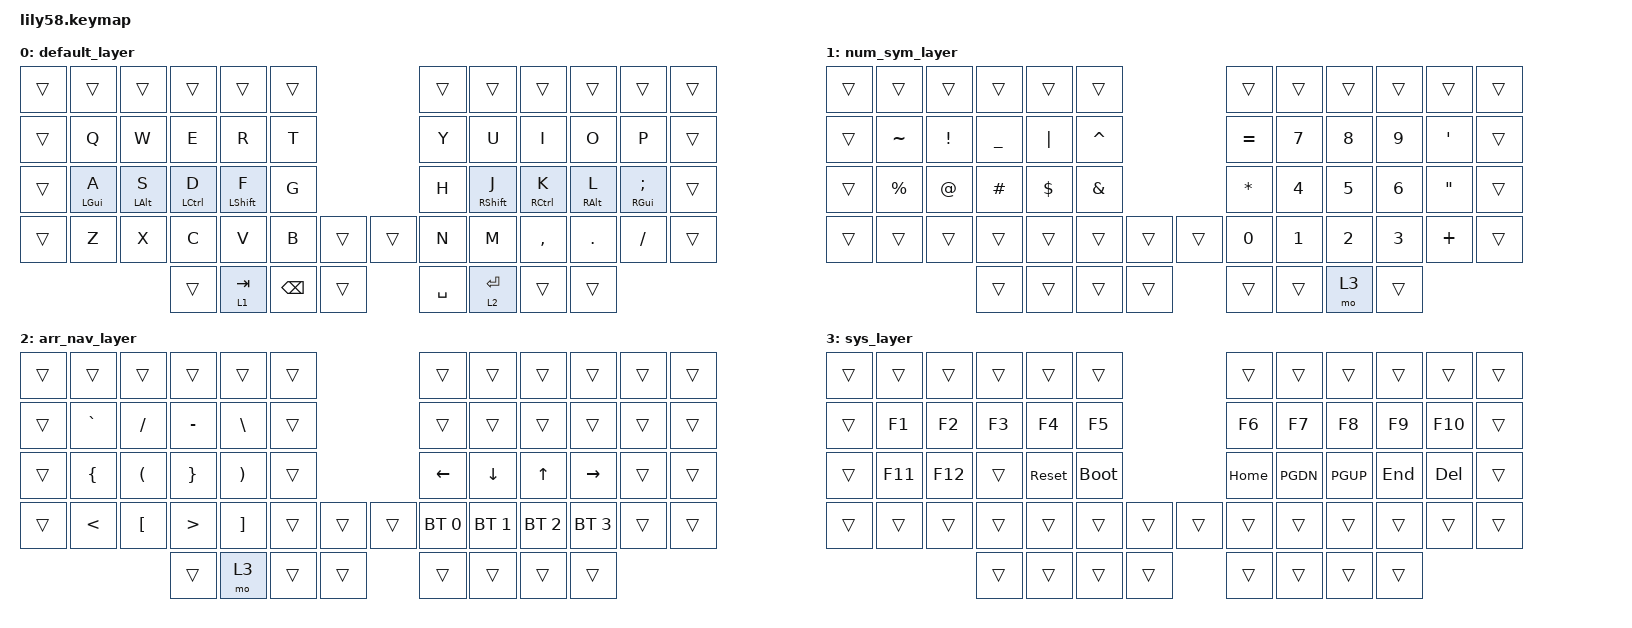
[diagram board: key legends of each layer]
/*
 * Lily58 keymap — 4-layer, 5-col footprint. Mac: GUI=CMD, Alt=Opt.
 * Home-row mods: F/J=Shift  D/K=Ctrl  S/L=Alt  A/;=GUI  
 * Combo: D+F=ESC
 */

#include <dt-bindings/zmk/behaviors.h>
#include <behaviors.dtsi>
#include <dt-bindings/zmk/keys.h>
#include <dt-bindings/zmk/outputs.h>
#include <dt-bindings/zmk/bt.h>

/ {
    behaviors {
        hml: homerow_mod_left { compatible="zmk,behavior-hold-tap"; #binding-cells=<2>; flavor="balanced"; tapping-term-ms=<200>; require-prior-idle-ms=<150>; bindings=<&kp>,<&kp>; };
        hmr: homerow_mod_right { compatible="zmk,behavior-hold-tap"; #binding-cells=<2>; flavor="balanced"; tapping-term-ms=<200>; require-prior-idle-ms=<150>; bindings=<&kp>,<&kp>; };
    };
    combos { compatible="zmk,combos"; esc_combo { timeout-ms=<100>; key-positions=<27 28>; bindings=<&kp ESC>; }; caps_combo { timeout-ms=<100>; key-positions=<37 38>; bindings=<&kp CAPSLOCK>; }; }; };

    keymap {
        compatible = "zmk,keymap";

        default_layer {
            bindings = <
&trans &trans &trans &trans &trans &trans                  &trans &trans &trans &trans &trans &trans
&trans &kp Q  &kp W  &kp E  &kp R  &kp T                   &kp Y  &kp U  &kp I  &kp O  &kp P  &trans
&trans &hml LGUI A &hml LALT S &hml LCTRL D &hml LSHFT F &kp G  &kp H &hmr RSHFT J &hmr RCTRL K &hmr RALT L &hmr RGUI SEMI &trans
&trans &kp Z  &kp X  &kp C  &kp V  &kp B  &trans &trans   &kp N  &kp M  &kp COMMA &kp DOT &kp FSLH &trans
                        &trans &lt 1 TAB &kp BSPC &trans     &kp SPACE &lt 2 RET &trans &trans
            >;
        };

        num_sym_layer {
            bindings = <
&trans &trans  &trans  &trans  &trans  &trans              &trans  &trans &trans &trans &trans &trans
&trans &kp TILDE &kp EXCL &kp UNDER &kp PIPE &kp CARET    &kp EQUAL &kp N7 &kp N8 &kp N9 &kp SQT &trans
&trans &kp PERCENT &kp AT &kp HASH &kp DOLLAR &kp AMPS    &kp ASTRK &kp N4 &kp N5 &kp N6 &kp DQT &trans
&trans &trans  &trans  &trans  &trans  &trans &trans &trans &kp N0 &kp N1 &kp N2 &kp N3 &kp PLUS &trans
                        &trans &trans  &trans &trans        &trans &trans &mo 3   &trans
            >;
        };

        arr_nav_layer {
            bindings = <
&trans &trans  &trans  &trans  &trans  &trans              &trans  &trans &trans &trans &trans &trans
&trans &kp GRAVE &kp FSLH &kp MINUS &kp BSLH &trans        &trans &trans &trans &trans &trans &trans
&trans &kp LBRC &kp LPAR &kp RBRC &kp RPAR &trans          &kp LEFT &kp DOWN &kp UP  &kp RIGHT &trans &trans
&trans &kp LT   &kp LBKT &kp GT   &kp RBKT &trans &trans &trans &bt BT_SEL 0 &bt BT_SEL 1 &bt BT_SEL 2 &bt BT_SEL 3 &trans &trans
                        &trans &mo 3   &trans &trans         &trans &trans &trans &trans
            >;
        };

        sys_layer {
            bindings = <
&trans &trans &trans &trans &trans &trans                  &trans &trans &trans &trans &trans &trans
&trans &kp F1  &kp F2 &kp F3 &kp F4 &kp F5                 &kp F6  &kp F7  &kp F8  &kp F9  &kp F10 &trans
&trans &kp F11 &kp F12 &trans &sys_reset &bootloader       &kp HOME &kp PGDN &kp PGUP &kp END &kp DEL &trans
&trans &trans &trans &trans &trans &trans &trans &trans    &trans &trans &trans &trans &trans &trans
                        &trans &trans &trans &trans         &trans &trans &trans &trans
            >;
        };
    };
};
